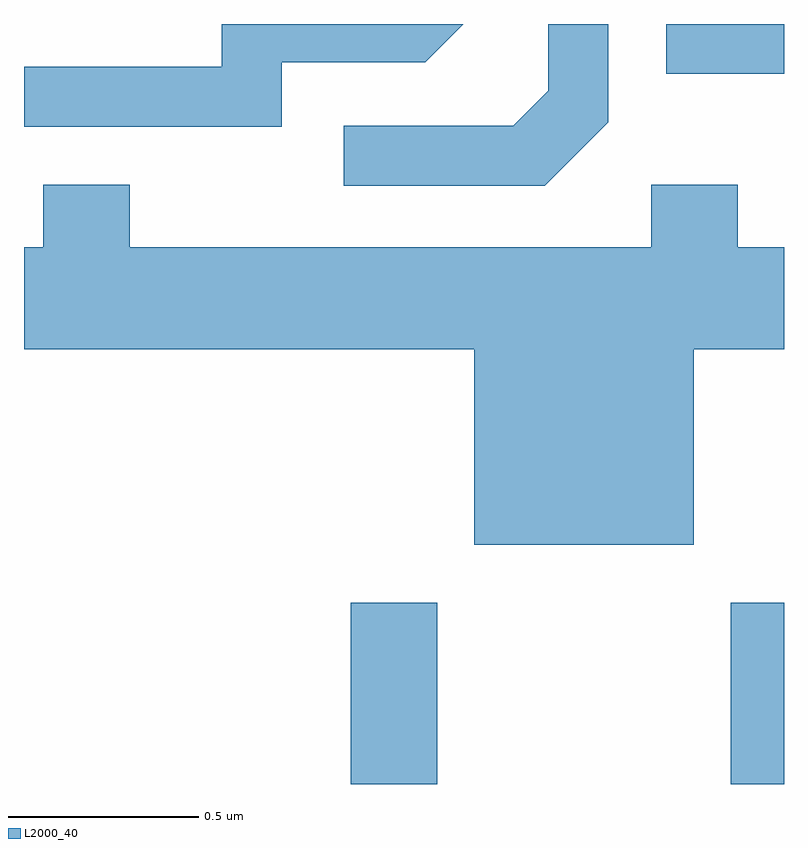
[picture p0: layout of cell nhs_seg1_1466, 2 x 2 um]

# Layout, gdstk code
import gdstk
lib = gdstk.Library(unit=1e-6, precision=1e-09)
def R(c, l, rs):  # rectangles x0, y0, x1, y1
    for r in rs: c.add(gdstk.rectangle(r[:2], r[2:], *l))
def P(c, l, *ps):  # polygons
    for p in ps: c.add(gdstk.Polygon(p, *l))
L2000_40 = (2000, 40)

nhs_seg1_1466 = lib.new_cell('nhs_seg1_1466')
R(nhs_seg1_1466, L2000_40, [(196.471,951.712,196.699,952.189), (197.471,951.712,197.611,952.189), (197.301,953.581,197.611,953.712)])
P(nhs_seg1_1466, L2000_40, [(197.149,953.454),(197.149,953.712),(196.991,953.712),(196.991,953.537),(196.899,953.444),(196.453,953.444),(196.453,953.286),(196.982,953.286)],
  [(196.289,953.611),(196.667,953.611),(196.767,953.712),(196.131,953.712),(196.131,953.599),(195.611,953.599),(195.611,953.441),(196.289,953.441)],
  [(197.374,952.856),(197.611,952.856),(197.611,953.124),(197.489,953.124),(197.489,953.289),(197.261,953.289),(197.261,953.124),(195.889,953.124),(195.889,953.289),(195.661,953.289),(195.661,953.124),(195.611,953.124),(195.611,952.856),(196.796,952.856),(196.796,952.341),(197.374,952.341)])

lib.write_gds('nhs_seg1_1466.gds')
